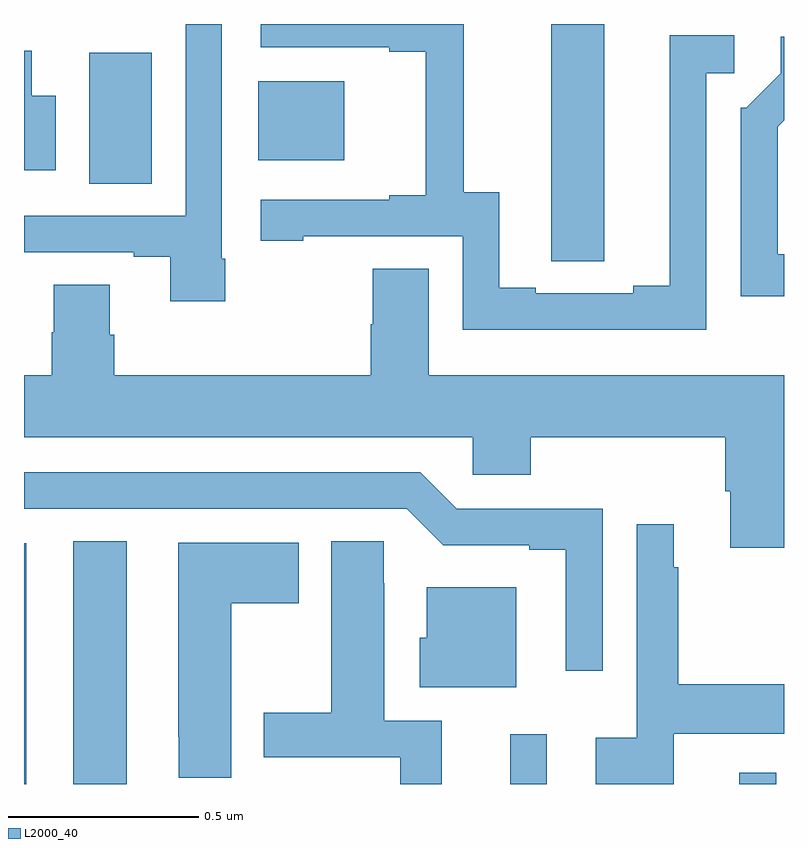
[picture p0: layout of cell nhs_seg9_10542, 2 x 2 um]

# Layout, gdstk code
import gdstk
lib = gdstk.Library(unit=1e-6, precision=1e-09)
def R(c, l, rs):  # rectangles x0, y0, x1, y1
    for r in rs: c.add(gdstk.rectangle(r[:2], r[2:], *l))
def P(c, l, *ps):  # polygons
    for p in ps: c.add(gdstk.Polygon(p, *l))
L2000_40 = (2000, 40)

nhs_seg9_10542 = lib.new_cell('nhs_seg9_10542')
R(nhs_seg9_10542, L2000_40, [(244,1203.5,244.006,1204.134), (244.13,1203.5,244.27,1204.139), (245.279,1203.5,245.376,1203.631), (245.882,1203.5,245.98,1203.529), (244.172,1205.08,244.336,1205.424), (244.616,1205.141,244.843,1205.35)])
P(nhs_seg9_10542, L2000_40, [(244.53,1204.882),(244.521,1204.882),(244.521,1205.5),(244.425,1205.5),(244.425,1204.995),(244,1204.995),(244,1204.899),(244.289,1204.899),(244.289,1204.887),(244.385,1204.887),(244.385,1204.77),(244.53,1204.77)],
  [(245.527,1205.5),(245.387,1205.5),(245.387,1204.984),(245.388,1204.984),(245.388,1204.876),(245.527,1204.876)],
  [(245.796,1205.37),(245.869,1205.37),(245.869,1205.471),(245.699,1205.471),(245.699,1204.811),(245.603,1204.811),(245.603,1204.791),(245.347,1204.791),(245.347,1204.806),(245.251,1204.806),(245.251,1205.057),(245.157,1205.057),(245.157,1205.5),(244.623,1205.5),(244.623,1205.439),(244.961,1205.439),(244.961,1205.427),(245.057,1205.427),(245.057,1205.05),(244.961,1205.05),(244.961,1205.037),(244.623,1205.037),(244.623,1204.929),(244.735,1204.929),(244.735,1204.941),(245.154,1204.941),(245.154,1204.695),(245.796,1204.695)],
  [(246,1204.894),(245.983,1204.894),(245.983,1205.23),(246,1205.247),(246,1205.466),(245.991,1205.466),(245.991,1205.37),(245.901,1205.28),(245.886,1205.28),(245.886,1204.784),(246,1204.784)],
  [(244.084,1205.311),(244.021,1205.311),(244.021,1205.43),(244,1205.43),(244,1205.115),(244.084,1205.115)],
  [(246,1204.576),(245.065,1204.576),(245.065,1204.856),(244.918,1204.856),(244.918,1204.71),(244.913,1204.71),(244.913,1204.576),(244.238,1204.576),(244.238,1204.682),(244.225,1204.682),(244.225,1204.814),(244.078,1204.814),(244.078,1204.689),(244.073,1204.689),(244.073,1204.576),(244,1204.576),(244,1204.412),(245.181,1204.412),(245.181,1204.314),(245.333,1204.314),(245.333,1204.412),(245.846,1204.412),(245.846,1204.27),(245.858,1204.27),(245.858,1204.122),(246,1204.122)],
  [(245.523,1204.224),(245.139,1204.224),(245.043,1204.32),(244,1204.32),(244,1204.224),(245.007,1204.224),(245.103,1204.128),(245.33,1204.128),(245.33,1204.116),(245.426,1204.116),(245.426,1203.798),(245.523,1203.798)],
  [(245.71,1203.632),(246,1203.632),(246,1203.762),(245.722,1203.762),(245.722,1204.07),(245.71,1204.07),(245.71,1204.183),(245.613,1204.183),(245.613,1203.622),(245.504,1203.622),(245.504,1203.5),(245.71,1203.5)],
  [(245.099,1203.666),(244.948,1203.666),(244.948,1204.028),(244.947,1204.028),(244.947,1204.139),(244.808,1204.139),(244.808,1203.687),(244.631,1203.687),(244.631,1203.57),(244.99,1203.57),(244.99,1203.5),(245.099,1203.5)],
  [(244.546,1203.976),(244.723,1203.976),(244.723,1204.135),(244.406,1204.135),(244.406,1203.625),(244.407,1203.625),(244.407,1203.517),(244.546,1203.517)],
  [(245.296,1204.018),(245.06,1204.018),(245.06,1203.885),(245.042,1203.885),(245.042,1203.755),(245.296,1203.755)])

lib.write_gds('nhs_seg9_10542.gds')
